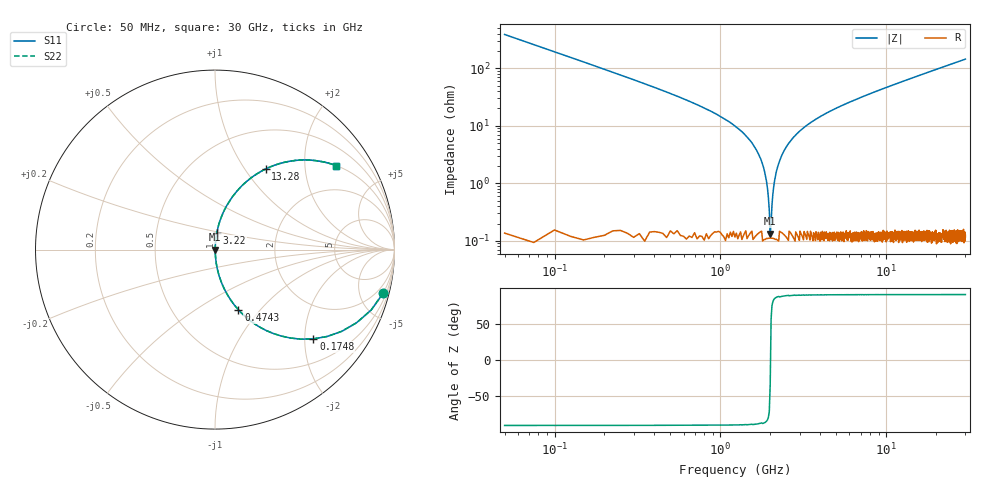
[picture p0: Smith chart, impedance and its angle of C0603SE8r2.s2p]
!	AVX Thin Film Operation 	Date: April 2014
!	Description: Accu-P® Series, Thin Film  SMD RF Capacitor
!	Part Number: 06035J8R2BBSTR
# MHZ S MA R 50
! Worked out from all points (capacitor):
!   1201 points, 50 MHz to 30 GHz, reference 50 ohm
!   read as one part in series: C = 8.2 pF near 199.8 MHz
!   lowest |Z| = 133 mohm at 1.997 GHz (marker M1)
!   series resonance near 2.004 GHz, so ESL is about 770 pH
!   S11 on the Smith chart (normalised r, x): 50 MHz: 1.01, -7.76; 174.8 MHz: 1.00, -2.20; 474.3 MHz: 1.00, -0.77; 3.22 GHz: 1.00, +0.19; 13.28 GHz: 1.00, +1.25; 30 GHz: 1.00, +2.89
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50  0.968 -14.5  0.25 75.5  0.25 75.5  0.968 -14.5
174.792  0.74 -42.2  0.672 47.7  0.672 47.7  0.74 -42.2
324.542  0.503 -59.7  0.863 30.2  0.863 30.2  0.503 -59.7
474.292  0.36 -68.7  0.932 21.1  0.932 21.1  0.36 -68.7
823.708  0.192 -78.6  0.98 11.1  0.98 11.1  0.192 -78.6
1547.5  0.051 -85.7  0.997 2.9  0.997 2.9  0.051 -85.7
1747.167  0.027 -85.8  0.998 1.5  0.998 1.5  0.027 -85.8
1896.917  0.011 -82.8  0.999 0.6  0.999 0.6  0.011 -82.8
1996.75  0.001426 -30.5  0.999 0.0  0.999 0.0  0.001426 -30.5
2096.583  0.008802 81.5  0.999 -0.5  0.999 -0.5  0.008802 81.5
2246.333  0.022 85.6  0.999 -1.3  0.999 -1.3  0.022 85.6
2446  0.039 86.0  0.998 -2.2  0.998 -2.2  0.039 86.0
2745.5  0.062 85.3  0.997 -3.5  0.997 -3.5  0.062 85.3
3219.708  0.095 83.8  0.994 -5.4  0.994 -5.4  0.095 83.8
5041.667  0.201 78.1  0.978 -11.6  0.978 -11.6  0.201 78.1
7113.208  0.301 72.2  0.952 -17.5  0.952 -17.5  0.301 72.2
10058.29  0.422 64.9  0.905 -25.0  0.905 -25.0  0.422 64.9
13277.92  0.531 57.8  0.847 -32.1  0.847 -32.1  0.531 57.8
15025  0.58 54.4  0.814 -35.5  0.814 -35.5  0.58 54.4
20016.67  0.691 46.2  0.722 -43.7  0.722 -43.7  0.691 46.2
25033.29  0.768 39.7  0.639 -50.2  0.639 -50.2  0.768 39.7
30000  0.822 34.7  0.569 -55.2  0.569 -55.2  0.822 34.7
